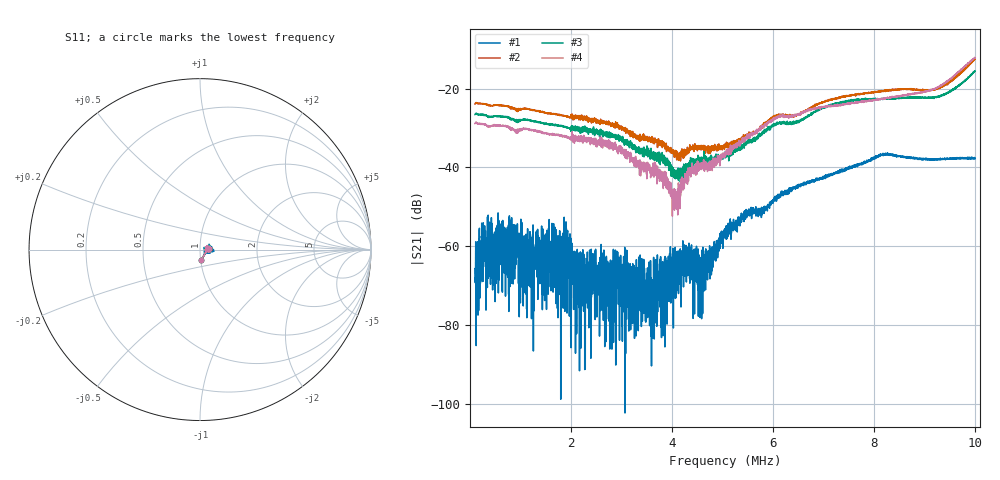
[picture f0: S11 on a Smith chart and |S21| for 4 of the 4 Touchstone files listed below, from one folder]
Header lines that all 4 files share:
! Anritsu VNA Master:  Model: MS2026C/19
! SN:  1815009
! Existing Calibration Information:
! TYPE:  Current Settings,  Active Cal Settings
! # POINTS:  4001,  4001
! START FREQ:  100.000 kHz,  100.000 kHz
! STOP FREQ:  10.000 MHz,  10.000 MHz
! SOURCE POWER:  Low,  Low
! IFBW:  500 Hz,  500 Hz
! REF PLANE 1:  0 mm,  0 mm
! REF PLANE 2:  0 mm,  0 mm
! CAL TYPE:  1P2P S11,S21,  1P2P S11,S21
! CAL METHOD:  SOLT,  SOLT
! CAL LINE TYPE:  Coax,  Coax
! DUT PORT 1:  N-Conn(M),  N-Conn(M)
! DUT PORT 2:  N-Conn(M),  N-Conn(M)
! CAL STATUS:  OK: Accuracy High,  --
# GHZ S RI R 50.0
! FREQ.GHZ  S11RE  S11IM  S21RE  S21IM  S12RE  S12IM  S22RE  S22IM
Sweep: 100 kHz to 10 MHz
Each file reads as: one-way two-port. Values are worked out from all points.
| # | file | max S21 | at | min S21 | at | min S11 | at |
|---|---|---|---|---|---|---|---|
| 1 | 20180902_46.s2p | -36.29 dB | 8.268 MHz | -102.3 dB | 3.07 MHz | -32.4 dB | 2.612 MHz |
| 2 | 20180902_51.s2p | -12.25 dB | 9.998 MHz | -38.4 dB | 4.169 MHz | -30.0 dB | 2.612 MHz |
| 3 | 20180902_52.s2p | -15.47 dB | 9.998 MHz | -44.4 dB | 4.206 MHz | -30.1 dB | 2.612 MHz |
| 4 | 20180902_53.s2p | -12.05 dB | 9.998 MHz | -52.4 dB | 4.008 MHz | -32.2 dB | 2.001 MHz |
